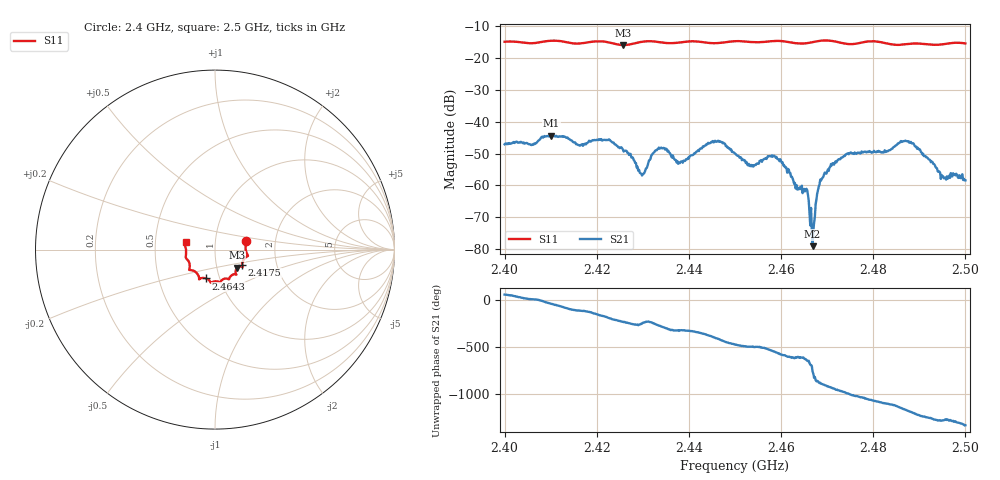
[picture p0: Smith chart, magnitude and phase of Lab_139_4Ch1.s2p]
# Hz S RI R 50
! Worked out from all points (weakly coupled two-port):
!   601 points, 2.4 GHz to 2.5 GHz, reference 50 ohm
!   highest |S21| = -44.41 dB at 2.4102 GHz (marker M1); lowest = -79.0 dB at 2.4668 GHz (marker M2)
!   lowest |S11| = -15.9 dB at 2.4257 GHz (marker M3), VSWR 1.38, Z = 62.5 - j13 ohm
!   |S11| at or under -10 dB: start of sweep to end of sweep
!   S12 and S22 are empty: the file has one direction only
!   S11 on the Smith chart (normalised r, x): 2.4 GHz: 1.41, +0.14; 2.4175 GHz: 1.34, -0.23; 2.4643 GHz: 0.86, -0.28; 2.5 GHz: 0.72, +0.06
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2.4e9  0.1732 0.049  0.00233 0.00375  0 0  0 0
2.410167e9  0.1835 -0.0333  0.00456 -0.00392  0 0  0 0
2.416667e9  0.1528 -0.074  -0.00186 -0.00396  0 0  0 0
2.4175e9  0.1518 -0.0836  -0.00225 -0.00395  0 0  0 0
2.425667e9  0.123 -0.1015  -0.00236 0.00281  0 0  0 0
2.429833e9  0.117 -0.1359  -0.000472 0.00135  0 0  0 0
2.433333e9  0.1135 -0.1372  -5.04e-05 0.00379  0 0  0 0
2.438167e9  0.0818 -0.1554  0.00183 0.00142  0 0  0 0
2.445333e9  0.0529 -0.1622  0.00378 -0.00286  0 0  0 0
2.45e9  0.0287 -0.1812  -0.00115 -0.00294  0 0  0 0
2.453667e9  0.0132 -0.1772  -0.00146 -0.00137  0 0  0 0
2.4585e9  -0.0212 -0.1837  -0.00289 0.000401  0 0  0 0
2.464333e9  -0.0499 -0.1607  -0.00029 0.000825  0 0  0 0
2.4655e9  -0.0636 -0.158  0.00011 0.000879  0 0  0 0
2.466667e9  -0.0761 -0.1589  0.000182 6.7e-05  0 0  0 0
2.466833e9  -0.0776 -0.1593  8.46e-05 -7.27e-05  0 0  0 0
2.468333e9  -0.0866 -0.1641  -0.000988 -0.000297  0 0  0 0
2.471e9  -0.0878 -0.1632  -0.00174 0.00111  0 0  0 0
2.483333e9  -0.1408 -0.0897  0.00321 -0.00146  0 0  0 0
2.488167e9  -0.1606 -0.0485  -0.00164 -0.00454  0 0  0 0
2.495167e9  -0.1638 0.0118  -0.0013 0.000485  0 0  0 0
2.5e9  -0.1639 0.0429  -0.000376 0.00114  0 0  0 0
